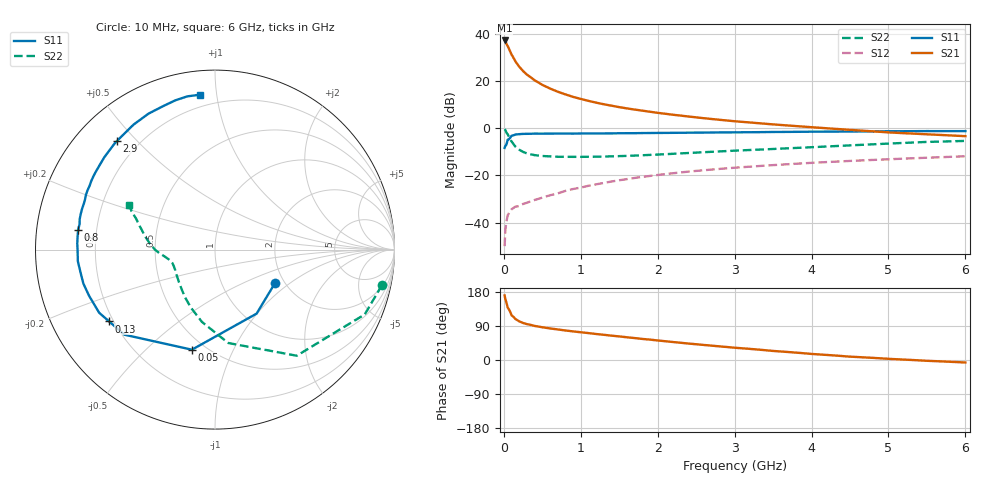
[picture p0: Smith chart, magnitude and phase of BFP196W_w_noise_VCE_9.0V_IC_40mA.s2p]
! Infineon Technologies  Discrete & RF Semiconductors
! BFP196W
! VCE =  9.0 V,  IC =  40 mA
! Common Emitter S-Parameters:  Jan 2017
# GHz  S  MA  R  50
!  f  S11  S21  S12  S22
! GHz  MAG  ANG  MAG  ANG  MAG  ANG  MAG  ANG
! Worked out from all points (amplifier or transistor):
!   77 points, 10 MHz to 6 GHz, reference 50 ohm
!   highest |S21| = 37.1 dB at 10 MHz (marker M1)
!   |S21| within 3 dB of that: start of sweep to 59.39 MHz
!   unconditionally stable (mu >= 1): 816.2 MHz to 3.235 GHz
!   at 130 MHz: K = 0.35, MSG = 31.6 dB, |S12| = -33.6 dB
!   at 2.2 GHz: K = 1.04, MAG = 11.1 dB, |S12| = -19.1 dB
!   at 6 GHz: K = 0.91, MSG = 4.2 dB, |S12| = -11.9 dB
!   lowest NFmin = 1.24 dB at 450 MHz
!   S11 on the Smith chart (normalised r, x): 10 MHz: 1.78, -0.78; 50 MHz: 0.42, -0.70; 130 MHz: 0.18, -0.30; 800 MHz: 0.13, +0.07; 2.9 GHz: 0.12, +0.44; 6 GHz: 0.13, +0.90
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0.01  0.3829 -29.2  71.58 170.4  0.0032 79.4  0.951 -12.0
0.02  0.4254 -57.0  68.61 160.4  0.0073 74.4  0.9092 -23.4
0.05  0.5723 -103.0  54.51 138.2  0.0144 55.7  0.7463 -52.4
0.1  0.6926 -136.8  36.02 118.0  0.0193 43.0  0.5256 -81.9
0.13  0.7125 -145.8  29.83 112.9  0.0208 40.5  0.4499 -91.8
0.15  0.735 -151.4  25.89 108.2  0.0219 39.0  0.4091 -100.3
0.2  0.7472 -159.8  19.94 102.0  0.0226 39.6  0.3506 -112.4
0.25  0.7574 -165.5  16.16 97.7  0.025 41.1  0.3149 -121.8
0.3  0.7591 -169.4  13.55 94.7  0.0265 43.0  0.2928 -128.6
0.4  0.767 -175.2  10.29 89.9  0.0303 47.7  0.2692 -138.6
0.5  0.7655 -179.4  8.244 86.4  0.034 50.4  0.258 -145.1
0.6  0.7682 177.4  6.897 83.3  0.0381 53.0  0.2532 -149.9
0.7  0.769 174.5  5.908 80.7  0.0417 55.4  0.2487 -153.4
0.8  0.7707 171.9  5.181 77.9  0.0472 57.1  0.2481 -155.8
1.1  0.7739 165.0  3.781 71.0  0.0605 59.2  0.2484 -161.1
1.5  0.7812 157.0  2.786 62.2  0.0792 59.5  0.2566 -166.0
2.1  0.7944 145.5  2.016 49.5  0.1069 56.8  0.282 -172.0
2.9  0.8148 132.1  1.453 34.3  0.1417 51.0  0.3284 -179.1
3.1  0.8186 129.0  1.36 30.9  0.1497 49.4  0.34 178.9
4.1  0.8437 114.8  1.021 14.7  0.1885 41.7  0.4028 168.1
5.1  0.8616 103.9  0.799 2.1  0.2235 33.9  0.48 157.9
6  0.8669 95.5  0.678 -6.6  0.2549 27.1  0.5378 152.5
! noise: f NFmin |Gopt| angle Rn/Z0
0.45  1.24  0.48  -179  0.06
0.9  1.39  0.54  -173  0.06
1.9  2.21  0.69  -150  0.14
2.4  2.61  0.73  -145  0.23
